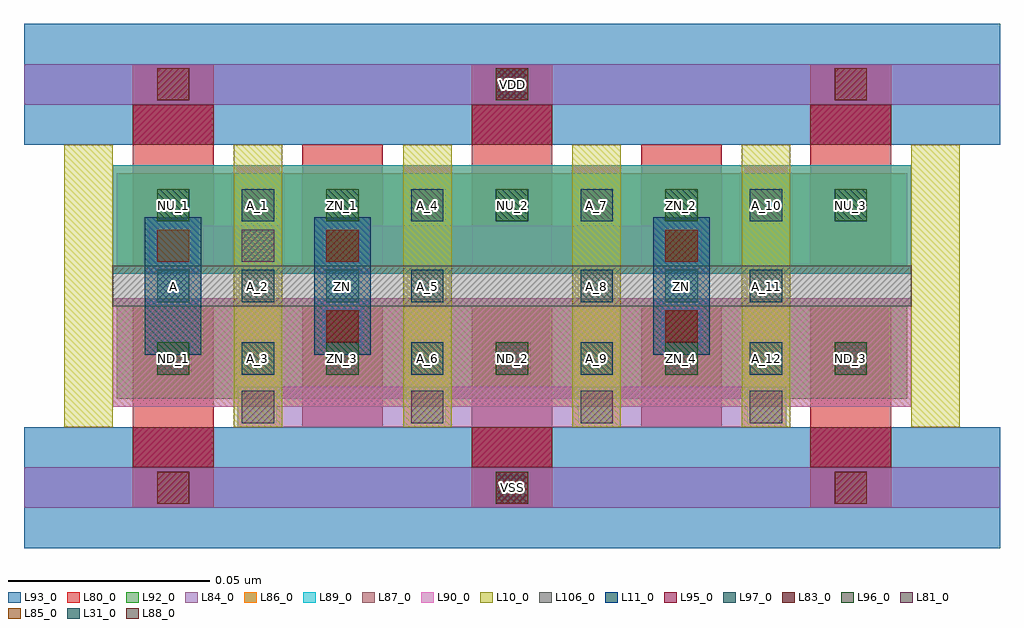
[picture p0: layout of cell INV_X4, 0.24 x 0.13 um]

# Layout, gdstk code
import gdstk
lib = gdstk.Library(unit=1e-6, precision=1e-09)
def R(c, l, rs):  # rectangles x0, y0, x1, y1
    for r in rs: c.add(gdstk.rectangle(r[:2], r[2:], *l))
def A(c, l, x, y, w, h, nx, ny, dx, dy):  # array of equal rectangles
    R(c, l, [(x+i*dx, y+j*dy, x+i*dx+w, y+j*dy+h) for i in range(nx) for j in range(ny)])
L10_0 = (10, 0)
L11_0 = (11, 0)
L31_0 = (31, 0)
L80_0 = (80, 0)
L81_0 = (81, 0)
L83_0 = (83, 0)
L84_0 = (84, 0)
L85_0 = (85, 0)
L86_0 = (86, 0)
L87_0 = (87, 0)
L88_0 = (88, 0)
L89_0 = (89, 0)
L90_0 = (90, 0)
L92_0 = (92, 0)
L93_0 = (93, 0)
L95_0 = (95, 0)
L96_0 = (96, 0)
L97_0 = (97, 0)
L106_0 = (106, 0)

inv_x4 = lib.new_cell('INV_X4')
A(inv_x4, L10_0, -0.027, 0.015, 0.012, 0.07, 6, 1, 0.042, 0)
R(inv_x4, L11_0, [(-0.007,0.033,0.007,0.067), (0.035,0.033,0.049,0.067), (0.119,0.033,0.133,0.067)])
R(inv_x4, L31_0, [(-0.004,0.046,0.004,0.054), (0.038,0.046,0.046,0.054), (0.122,0.046,0.13,0.054)])
A(inv_x4, L80_0, -0.01, -0.005, 0.02, 0.03, 3, 2, 0.084, 0.08)
A(inv_x4, L80_0, -0.01, 0.015, 0.02, 0.03, 5, 2, 0.042, 0.04)
A(inv_x4, L81_0, 0.017, 0.016, 0.008, 0.008, 4, 1, 0.042, 0)
R(inv_x4, L81_0, [(0.017,0.056,0.025,0.064)])
A(inv_x4, L83_0, -0.004, -0.004, 0.008, 0.008, 3, 2, 0.084, 0.1)
R(inv_x4, L83_0, [(0.038,0.036,0.046,0.044), (0.122,0.036,0.13,0.044), (0.038,0.056,0.046,0.064), (0.122,0.056,0.13,0.064)])
A(inv_x4, L84_0, 0.016, 0.015, 0.031, 0.01, 6, 1, 0.021, 0)
A(inv_x4, L84_0, 0.037, 0.055, 0.031, 0.01, 4, 1, 0.021, 0)
R(inv_x4, L84_0, [(-0.037,-0.005,0.205,0.005), (0.037,0.035,0.047,0.045), (0.121,0.035,0.131,0.045), (-0.006,0.055,0.027,0.065), (-0.037,0.095,0.205,0.105)])
R(inv_x4, L85_0, [(0.038,0.036,0.046,0.044), (0.122,0.036,0.13,0.044), (-0.004,0.056,0.004,0.064), (0.038,0.056,0.046,0.064), (0.122,0.056,0.13,0.064)])
R(inv_x4, L86_0, [(-0.015,0.053,0.183,0.08)])
R(inv_x4, L87_0, [(-0.015,0.02,0.183,0.047)])
R(inv_x4, L88_0, [(0.08,-0.004,0.088,0.004), (0.08,0.096,0.088,0.104)])
R(inv_x4, L89_0, [(-0.015,0.053,0.183,0.08)])
R(inv_x4, L90_0, [(-0.015,0.02,0.183,0.047)])
R(inv_x4, L92_0, [(-0.014,0.022,0.182,0.045), (-0.014,0.055,0.182,0.078)])
R(inv_x4, L93_0, [(-0.037,-0.015,0.205,0.015), (-0.037,0.085,0.205,0.115)])
A(inv_x4, L95_0, -0.01, 0.005, 0.02, 0.01, 3, 2, 0.084, 0.08)
A(inv_x4, L96_0, -0.004, 0.028, 0.008, 0.008, 5, 2, 0.042, 0.038)
A(inv_x4, L97_0, 0.017, 0.028, 0.008, 0.008, 4, 2, 0.042, 0.018)
A(inv_x4, L97_0, 0.017, 0.066, 0.008, 0.008, 4, 1, 0.042, 0)
R(inv_x4, L106_0, [(-0.015,0.045,0.183,0.055)])
inv_x4.add(gdstk.Label('VDD', (0.084,0.1), layer=88, texttype=0))
inv_x4.add(gdstk.Label('VSS', (0.084,0), layer=88, texttype=0))
inv_x4.add(gdstk.Label('A_9', (0.105,0.032), layer=97, texttype=0))
inv_x4.add(gdstk.Label('A_8', (0.105,0.05), layer=97, texttype=0))
inv_x4.add(gdstk.Label('A_7', (0.105,0.07), layer=97, texttype=0))
inv_x4.add(gdstk.Label('A_12', (0.147,0.032), layer=97, texttype=0))
inv_x4.add(gdstk.Label('A_11', (0.147,0.05), layer=97, texttype=0))
inv_x4.add(gdstk.Label('A_10', (0.147,0.07), layer=97, texttype=0))
inv_x4.add(gdstk.Label('A_4', (0.063,0.07), layer=97, texttype=0))
inv_x4.add(gdstk.Label('A_5', (0.063,0.05), layer=97, texttype=0))
inv_x4.add(gdstk.Label('A_6', (0.063,0.032), layer=97, texttype=0))
inv_x4.add(gdstk.Label('A_1', (0.021,0.07), layer=97, texttype=0))
inv_x4.add(gdstk.Label('A_2', (0.021,0.05), layer=97, texttype=0))
inv_x4.add(gdstk.Label('A_3', (0.021,0.032), layer=97, texttype=0))
inv_x4.add(gdstk.Label('ZN_4', (0.126,0.032), layer=96, texttype=0))
inv_x4.add(gdstk.Label('ZN_2', (0.126,0.07), layer=96, texttype=0))
inv_x4.add(gdstk.Label('NU_3', (0.168,0.07), layer=96, texttype=0))
inv_x4.add(gdstk.Label('ND_3', (0.168,0.032), layer=96, texttype=0))
inv_x4.add(gdstk.Label('ND_2', (0.084,0.032), layer=96, texttype=0))
inv_x4.add(gdstk.Label('NU_2', (0.084,0.07), layer=96, texttype=0))
inv_x4.add(gdstk.Label('ZN_3', (0.042,0.032), layer=96, texttype=0))
inv_x4.add(gdstk.Label('ZN_1', (0.042,0.07), layer=96, texttype=0))
inv_x4.add(gdstk.Label('NU_1', (0,0.07), layer=96, texttype=0))
inv_x4.add(gdstk.Label('ND_1', (0,0.032), layer=96, texttype=0))
inv_x4.add(gdstk.Label('ZN', (0.126,0.05), layer=31, texttype=0))
inv_x4.add(gdstk.Label('ZN', (0.042,0.05), layer=31, texttype=0))
inv_x4.add(gdstk.Label('A', (0,0.05), layer=31, texttype=0))

lib.write_gds('INV_X4.gds')
